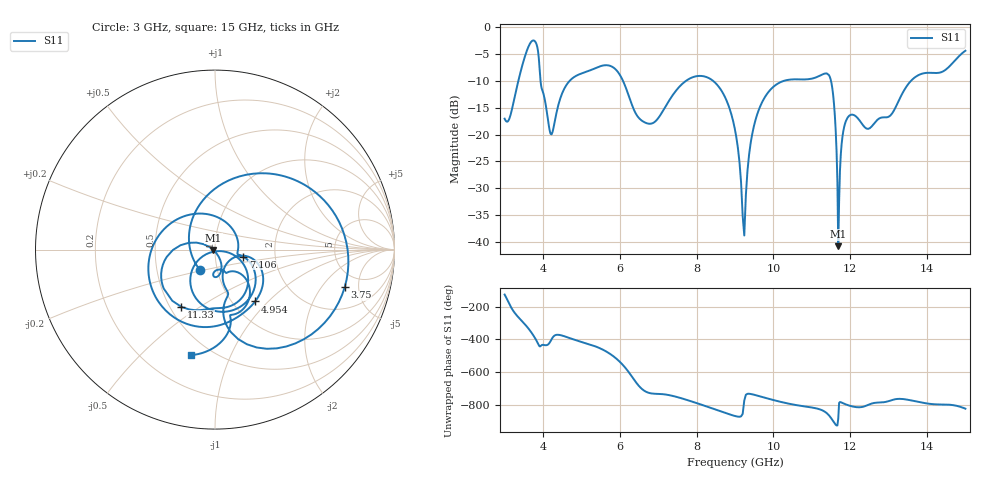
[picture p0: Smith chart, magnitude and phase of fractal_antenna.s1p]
!One-port fractal antenna S-param data from ADS Momentum example
# ghz S ri R 50
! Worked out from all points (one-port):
!   485 points, 3 GHz to 15 GHz, reference 50 ohm
!   lowest |S11| = -40.8 dB at 11.69 GHz (marker M1), VSWR 1.02, Z = 49.1 - j0.254 ohm
!   |S11| at or under -10 dB: 6.084 GHz to 7.722 GHz (1.638 GHz wide, 23.7 % of centre); 8.43 GHz to 10.27 GHz (1.84 GHz wide, 19.7 % of centre); 11.5 GHz to 13.58 GHz (2.082 GHz wide, 16.6 % of centre)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
!   S11 on the Smith chart (normalised r, x): 3 GHz: 0.83, -0.19; 3.75 GHz: 3.60, -3.47; 4.954 GHz: 1.26, -0.84; 7.106 GHz: 1.37, -0.11; 11.33 GHz: 0.57, -0.42; 15 GHz: 0.39, -0.72
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3  -0.0833 -0.1135
3.28125  -0.1066 0.2153
3.5125  0.2845 0.4249
3.75  0.7228 -0.2092
3.84375  0.3984 -0.5395
3.915625  0.0522 -0.3892
4.2  0.0664 -0.0766
4.5  0.2327 -0.0703
4.954167  0.2238 -0.2887
5.6  -0.1347 -0.4209
6  -0.36 -0.0207
6.233333  -0.1142 0.1993
6.536111  0.1241 0.061
7.105556  0.1573 -0.0395
7.522222  0.226 -0.1511
8.45  -0.0782 -0.302
9.033333  -0.0821 -0.0482
9.241667  0.00694 -0.0092
9.658333  0.1622 -0.087
10.5  0.0735 -0.3185
11.33333  -0.1872 -0.319
11.52222  -0.2817 -0.0629
11.68889  -0.00879 -0.00258
11.82222  0.0364 -0.1022
12.02222  0.00733 -0.1531
12.51111  0.0287 -0.1112
13.50926  0.1941 -0.2217
15  -0.1353 -0.5882
